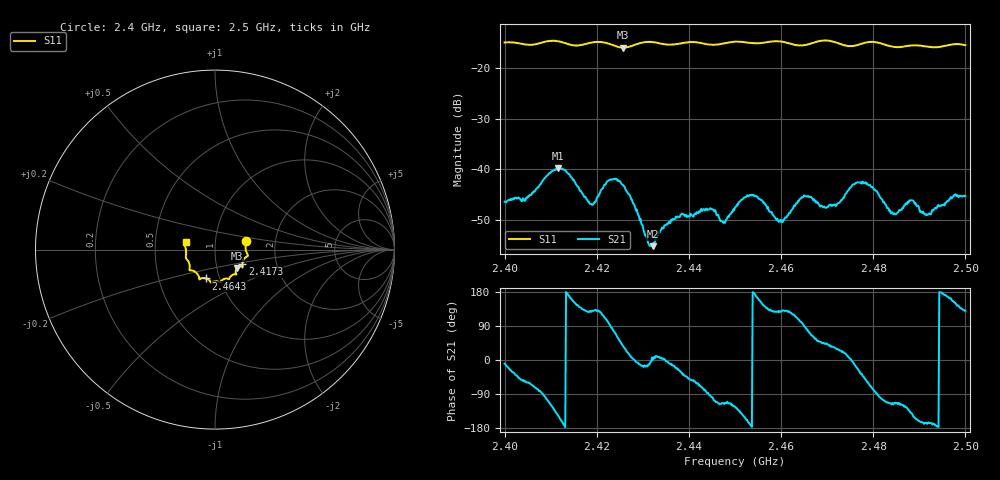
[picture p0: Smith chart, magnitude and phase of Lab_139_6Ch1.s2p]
# Hz S RI R 50
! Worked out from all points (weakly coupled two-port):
!   601 points, 2.4 GHz to 2.5 GHz, reference 50 ohm
!   highest |S21| = -39.78 dB at 2.4115 GHz (marker M1); lowest = -55.2 dB at 2.4322 GHz (marker M2)
!   lowest |S11| = -15.9 dB at 2.4257 GHz (marker M3), VSWR 1.38, Z = 62.5 - j13.1 ohm
!   |S11| at or under -10 dB: start of sweep to end of sweep
!   S12 and S22 are empty: the file has one direction only
!   S11 on the Smith chart (normalised r, x): 2.4 GHz: 1.41, +0.14; 2.4173 GHz: 1.34, -0.23; 2.4643 GHz: 0.86, -0.28; 2.5 GHz: 0.72, +0.06
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2.4e9  0.173 0.0493  0.00473 -0.000793  0 0  0 0
2.404833e9  0.1704 0.0159  0.00264 -0.00447  0 0  0 0
2.4115e9  0.182 -0.036  -0.00837 -0.00593  0 0  0 0
2.416667e9  0.1527 -0.0743  -0.00432 0.00416  0 0  0 0
2.417333e9  0.1522 -0.0818  -0.0035 0.00399  0 0  0 0
2.425667e9  0.1228 -0.1023  0.00557 0.00429  0 0  0 0
2.432167e9  0.1179 -0.1381  0.00174 1.99e-05  0 0  0 0
2.433333e9  0.1129 -0.137  0.00219 0.000281  0 0  0 0
2.4385e9  0.0814 -0.1571  0.00302 -0.00206  0 0  0 0
2.444833e9  0.057 -0.1612  -0.000501 -0.00404  0 0  0 0
2.4475e9  0.0379 -0.1717  -0.00122 -0.00269  0 0  0 0
2.45e9  0.0295 -0.1809  -0.00228 -0.00354  0 0  0 0
2.454333e9  0.00731 -0.1764  -0.00543 0.000603  0 0  0 0
2.459833e9  -0.0235 -0.1829  -0.00189 0.00254  0 0  0 0
2.464333e9  -0.0499 -0.1606  -0.000935 0.0051  0 0  0 0
2.466667e9  -0.0757 -0.1598  0.00222 0.00471  0 0  0 0
2.471667e9  -0.0875 -0.1591  0.00382 0.0024  0 0  0 0
2.478167e9  -0.1364 -0.1156  0.0048 -0.00561  0 0  0 0
2.483333e9  -0.1408 -0.0898  -0.00161 -0.00378  0 0  0 0
2.488333e9  -0.1612 -0.0492  -0.00382 -0.00312  0 0  0 0
2.492e9  -0.1608 -0.0253  -0.00348 -0.000963  0 0  0 0
2.5e9  -0.1637 0.0424  -0.00351 0.00419  0 0  0 0
